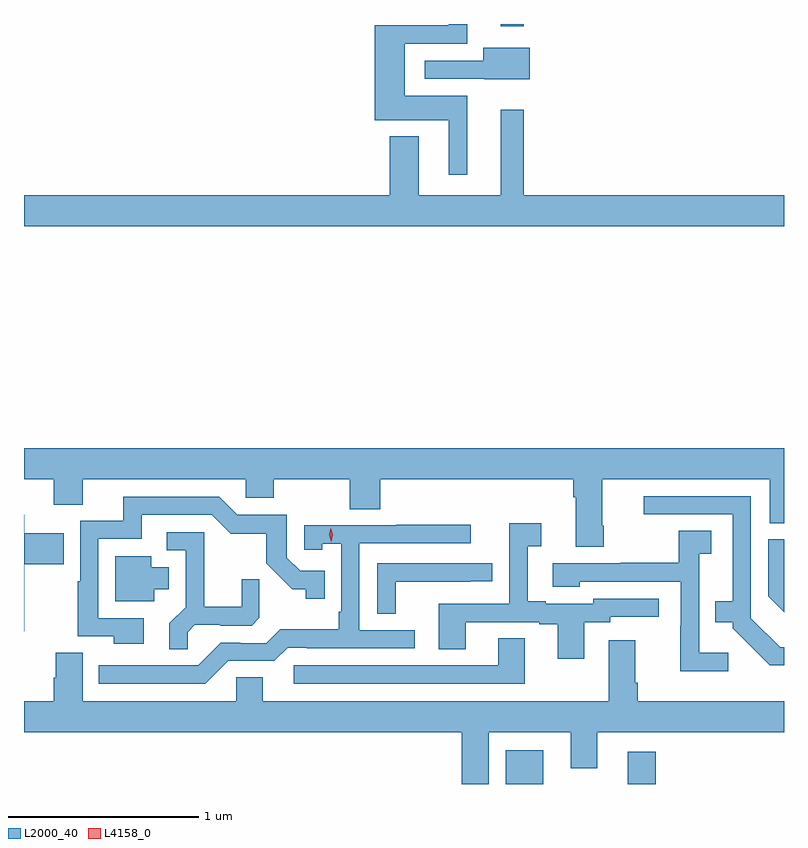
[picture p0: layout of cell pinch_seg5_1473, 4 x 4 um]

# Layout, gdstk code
import gdstk
lib = gdstk.Library(unit=1e-6, precision=1e-09)
def R(c, l, rs):  # rectangles x0, y0, x1, y1
    for r in rs: c.add(gdstk.rectangle(r[:2], r[2:], *l))
def P(c, l, *ps):  # polygons
    for p in ps: c.add(gdstk.Polygon(p, *l))
L2000_40 = (2000, 40)
L4158_0 = (4158, 0)

pinch_seg5_1473 = lib.new_cell('pinch_seg5_1473')
R(pinch_seg5_1473, L2000_40, [(326.769,855.156,326.965,855.334), (327.41,855.156,327.557,855.325), (326.741,859.143,326.863,859.156)])
P(pinch_seg5_1473, L2000_40, [(326.566,858.778),(326.236,858.778),(326.236,859.053),(326.566,859.053),(326.566,859.156),(326.468,859.156),(326.468,859.149),(326.078,859.149),(326.078,858.65),(326.468,858.65),(326.468,858.363),(326.566,858.363)],
  [(326.896,859.03),(326.651,859.03),(326.651,858.963),(326.343,858.963),(326.343,858.867),(326.655,858.867),(326.655,858.866),(326.896,858.866)],
  [(328.233,858.256),(326.863,858.256),(326.863,858.706),(326.741,858.706),(326.741,858.256),(326.311,858.256),(326.311,858.565),(326.159,858.565),(326.159,858.256),(324.233,858.256),(324.233,858.092),(328.233,858.092)],
  [(327.285,856.516),(327.277,856.516),(327.277,856.76),(328.157,856.76),(328.157,856.528),(328.233,856.528),(328.233,856.924),(324.233,856.924),(324.233,856.76),(324.389,856.76),(324.389,856.627),(324.541,856.627),(324.541,856.76),(325.401,856.76),(325.401,856.662),(325.548,856.662),(325.548,856.76),(325.948,856.76),(325.948,856.603),(326.108,856.603),(326.108,856.76),(327.125,856.76),(327.125,856.664),(327.137,856.664),(327.137,856.404),(327.285,856.404)],
  [(328.233,855.876),(328.212,855.876),(328.059,856.029),(328.059,856.671),(327.495,856.671),(327.495,856.575),(327.962,856.575),(327.962,856.117),(327.871,856.117),(327.871,856.007),(327.963,856.007),(327.963,855.975),(328.158,855.78),(328.233,855.78)],
  [(324.862,856.029),(324.624,856.029),(324.624,856.446),(324.853,856.446),(324.853,856.572),(325.221,856.572),(325.32,856.474),(325.509,856.474),(325.509,856.318),(325.646,856.181),(325.716,856.181),(325.716,856.131),(325.817,856.131),(325.817,856.278),(325.686,856.278),(325.617,856.347),(325.617,856.572),(325.356,856.572),(325.26,856.668),(324.755,856.668),(324.755,856.542),(324.528,856.542),(324.528,856.223),(324.516,856.223),(324.516,855.933),(324.706,855.933),(324.706,855.893),(324.862,855.893)],
  [(324.234,856.312),(324.443,856.312),(324.443,856.477),(324.234,856.477),(324.234,856.573),(324.233,856.573),(324.233,855.959),(324.234,855.959)],
  [(327.181,856.008),(327.318,856.008),(327.318,856.035),(327.574,856.035),(327.574,856.131),(327.228,856.131),(327.228,856.104),(326.98,856.104),(326.98,856.117),(326.884,856.117),(326.884,856.408),(326.956,856.408),(326.956,856.528),(326.787,856.528),(326.787,856.104),(326.417,856.104),(326.417,855.865),(326.557,855.865),(326.557,856.008),(326.945,856.008),(326.945,855.996),(327.041,855.996),(327.041,855.816),(327.181,855.816)],
  [(325.308,855.804),(325.551,855.804),(325.62,855.873),(325.72,855.873),(325.72,855.87),(326.29,855.87),(326.29,855.966),(325.998,855.966),(325.998,856.422),(326.584,856.422),(326.584,856.521),(326.191,856.521),(326.191,856.518),(325.707,856.518),(325.707,856.389),(325.803,856.389),(325.803,856.421),(325.902,856.421),(325.902,856.063),(325.89,856.063),(325.89,855.97),(325.582,855.97),(325.509,855.897),(325.37,855.897),(325.37,855.9),(325.269,855.9),(325.149,855.78),(324.626,855.78),(324.626,855.684),(325.188,855.684)],
  [(327.94,855.847),(327.786,855.847),(327.786,856.369),(327.85,856.369),(327.85,856.49),(327.678,856.49),(327.678,856.32),(327.373,856.32),(327.373,856.317),(327.015,856.317),(327.015,856.193),(327.159,856.193),(327.159,856.221),(327.69,856.221),(327.69,855.989),(327.688,855.989),(327.688,855.749),(327.94,855.749)],
  [(325.095,855.956),(325.132,855.993),(325.266,855.993),(325.266,855.99),(325.431,855.99),(325.472,856.031),(325.472,856.233),(325.378,856.233),(325.378,856.09),(325.181,856.09),(325.181,856.482),(324.984,856.482),(324.984,856.386),(325.083,856.386),(325.083,856.087),(324.997,856.001),(324.997,855.865),(325.095,855.865)],
  [(328.233,856.443),(328.149,856.443),(328.149,856.145),(328.233,856.061)],
  [(324.919,856.181),(324.994,856.181),(324.994,856.297),(324.904,856.297),(324.904,856.354),(324.713,856.354),(324.713,856.118),(324.919,856.118)],
  [(326.19,856.221),(326.585,856.221),(326.585,856.222),(326.698,856.222),(326.698,856.317),(326.091,856.317),(326.091,856.051),(326.19,856.051)],
  [(326.869,855.923),(326.729,855.923),(326.729,855.78),(325.653,855.78),(325.653,855.684),(326.869,855.684)],
  [(326.68,855.428),(327.11,855.428),(327.11,855.238),(327.25,855.238),(327.25,855.428),(328.233,855.428),(328.233,855.592),(327.464,855.592),(327.464,855.688),(327.451,855.688),(327.451,855.913),(327.311,855.913),(327.311,855.592),(325.489,855.592),(325.489,855.719),(325.35,855.719),(325.35,855.592),(324.541,855.592),(324.541,855.848),(324.401,855.848),(324.401,855.714),(324.389,855.714),(324.389,855.592),(324.233,855.592),(324.233,855.428),(326.537,855.428),(326.537,855.156),(326.68,855.156)])
P(pinch_seg5_1473, L4158_0, [(325.849,856.431),(325.839,856.467),(325.848,856.503),(325.848,856.503),(325.848,856.503),(325.859,856.467),(325.85,856.431),(325.85,856.431)])

lib.write_gds('pinch_seg5_1473.gds')
